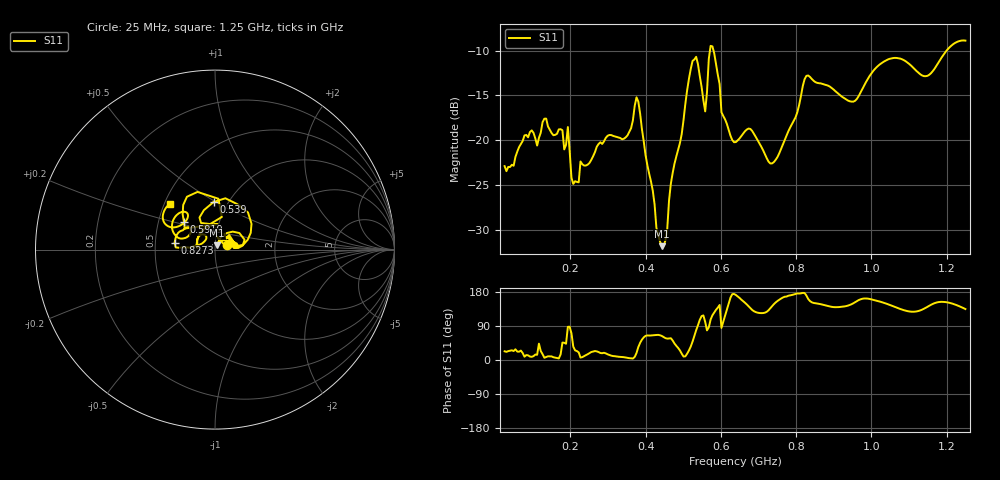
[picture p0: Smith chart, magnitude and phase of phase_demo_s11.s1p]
!Created with skrf (http://scikit-rf.org).
# Hz S RI R 50.0
!freq ReS11 ImS11
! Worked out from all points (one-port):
!   256 points, 25 MHz to 1.25 GHz, reference 50 ohm
!   lowest |S11| = -31.8 dB at 442.9 MHz (marker M1), VSWR 1.05, Z = 51.1 + j2.36 ohm
!   |S11| at or under -10 dB: start of sweep to 570.9 MHz; 580.3 MHz to 1.2 GHz (619.9 MHz wide, 69.6 % of centre)
!   S11 on the Smith chart (normalised r, x): 25 MHz: 1.14, +0.06; 539 MHz: 0.86, +0.49; 591.9 MHz: 0.68, +0.22; 827.2 MHz: 0.63, +0.05; 1.25 GHz: 0.53, +0.31
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2.5e7  0.0662 0.028
9.706e7  0.1124 0.0165
1.1147e8  0.0908 0.0223
1.3069e8  0.1313 0.0138
1.7873e8  0.079 0.0819
1.8353e8  0.0625 0.0634
1.9314e8  0.00513 0.1185
2.0755e8  0.0467 0.0331
3.3245e8  0.102 0.0148
3.8049e8  0.1358 0.0923
4.4294e8  0.0115 0.023
4.8618e8  0.0749 0.0468
5.198e8  0.2035 0.1438
5.3902e8  -0.00774 0.2653
5.5824e8  -0.0268 0.1424
5.7265e8  -0.0974 0.3213
5.9186e8  -0.1729 0.1539
6.0147e8  0.0134 0.1428
6.399e8  -0.0968 0.0144
6.7833e8  -0.0842 0.0794
7.3598e8  -0.0586 0.0458
7.9363e8  -0.1273 0.0156
8.2725e8  -0.2253 0.0384
9.4735e8  -0.1381 0.0889
1.02902e9  -0.2396 0.126
1.10108e9  -0.1637 0.2093
1.17794e9  -0.24 0.124
1.25e9  -0.2513 0.2563
